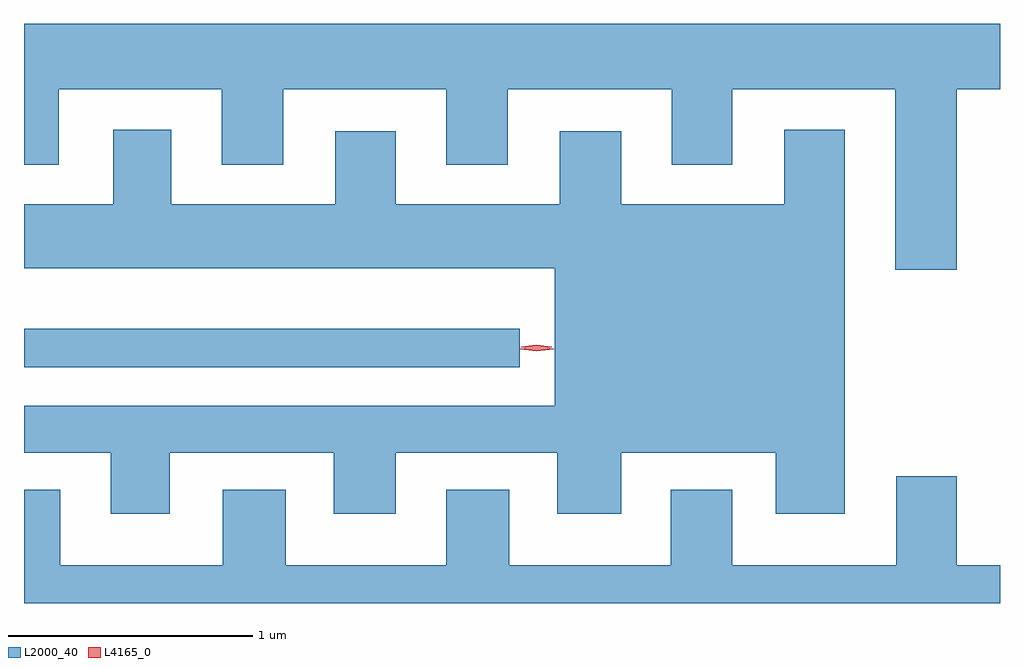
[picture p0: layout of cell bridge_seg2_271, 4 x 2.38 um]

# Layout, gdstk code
import gdstk
lib = gdstk.Library(unit=1e-6, precision=1e-09)
def R(c, l, rs):  # rectangles x0, y0, x1, y1
    for r in rs: c.add(gdstk.rectangle(r[:2], r[2:], *l))
def P(c, l, *ps):  # polygons
    for p in ps: c.add(gdstk.Polygon(p, *l))
L2000_40 = (2000, 40)
L4165_0 = (4165, 0)

bridge_seg2_271 = lib.new_cell('bridge_seg2_271')
R(bridge_seg2_271, L2000_40, [(636.996,1091.576,639.028,1091.734)])
P(bridge_seg2_271, L2000_40, [(640.819,1092.716),(640.996,1092.716),(640.996,1092.984),(636.996,1092.984),(636.996,1092.406),(637.139,1092.406),(637.139,1092.716),(637.806,1092.716),(637.806,1092.406),(638.059,1092.406),(638.059,1092.716),(638.726,1092.716),(638.726,1092.406),(638.979,1092.406),(638.979,1092.716),(639.651,1092.716),(639.651,1092.406),(639.899,1092.406),(639.899,1092.716),(640.566,1092.716),(640.566,1091.976),(640.819,1091.976)],
  [(637.594,1091.226),(638.266,1091.226),(638.266,1090.976),(638.519,1090.976),(638.519,1091.226),(639.181,1091.226),(639.181,1090.976),(639.444,1090.976),(639.444,1091.226),(640.076,1091.226),(640.076,1090.976),(640.359,1090.976),(640.359,1092.549),(640.111,1092.549),(640.111,1092.244),(639.444,1092.244),(639.444,1092.544),(639.191,1092.544),(639.191,1092.244),(638.519,1092.244),(638.519,1092.544),(638.271,1092.544),(638.271,1092.244),(637.599,1092.244),(637.599,1092.549),(637.361,1092.549),(637.361,1092.244),(636.996,1092.244),(636.996,1091.981),(639.171,1091.981),(639.171,1091.419),(636.996,1091.419),(636.996,1091.226),(637.351,1091.226),(637.351,1090.976),(637.594,1090.976)],
  [(639.899,1091.074),(639.646,1091.074),(639.646,1090.764),(638.984,1090.764),(638.984,1091.074),(638.726,1091.074),(638.726,1090.764),(638.069,1090.764),(638.069,1091.074),(637.811,1091.074),(637.811,1090.764),(637.144,1090.764),(637.144,1091.074),(636.996,1091.074),(636.996,1090.609),(640.996,1090.609),(640.996,1090.764),(640.819,1090.764),(640.819,1091.129),(640.571,1091.129),(640.571,1090.764),(639.899,1090.764)])
P(bridge_seg2_271, L4165_0, [(639.098,1091.641),(639.03,1091.651),(639.029,1091.651),(639.03,1091.652),(639.099,1091.661),(639.167,1091.652),(639.168,1091.651),(639.167,1091.651)],
  [(639.096,1091.649),(639.033,1091.659),(639.033,1091.659),(639.033,1091.66),(639.096,1091.669),(639.158,1091.66),(639.158,1091.66),(639.158,1091.659)])

lib.write_gds('bridge_seg2_271.gds')
